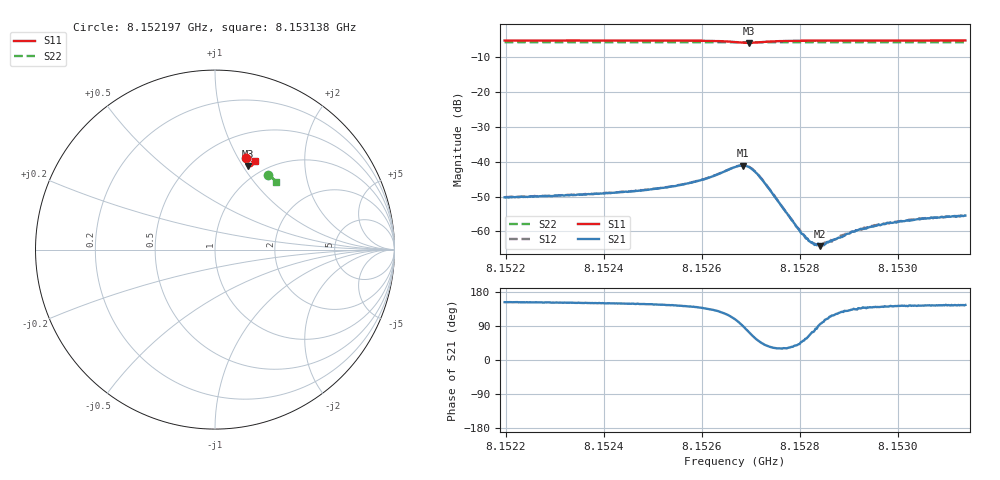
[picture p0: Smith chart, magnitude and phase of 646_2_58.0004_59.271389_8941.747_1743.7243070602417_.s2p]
#  HZ  S  RI  R  50.00
! Rohde & Schwarz Vector Network Analyzer
! Rohde-Schwarz,ZNB20-2Port,1311601062101988,3.16
! Created: UTC 3/21/2024, 1:19:15 AM
! freq[Hz]  re:S11  im:S11  re:S21  im:S21  re:S12  im:S12  re:S22  im:S22
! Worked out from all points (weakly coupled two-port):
!   401 points, 8.152197 GHz to 8.153138 GHz, reference 50 ohm
!   highest |S21| = -41.12 dB at 8.152684 GHz (marker M1); lowest = -64.2 dB at 8.152842 GHz (marker M2)
!   lowest |S11| = -6.0 dB at 8.152696 GHz (marker M3), VSWR 3.01, Z = 42.6 + j52.9 ohm
!   |S11| at or under -10 dB: nowhere
!   |S22| runs from -5.9 to -5.8 dB; largest |S21 - S12| = 0.00017
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8.1521975e9  0.1705 0.5129  -0.00274 0.00142  -0.00273 0.00143  0.2966 0.4171
8.152355e9  0.1824 0.5089  -0.00294 0.00164  -0.00295 0.00167  0.3048 0.4111
8.1524585e9  0.191 0.5054  -0.00321 0.00196  -0.00318 0.00203  0.3099 0.4069
8.1525126e9  0.1959 0.503  -0.00343 0.00231  -0.00341 0.00235  0.3128 0.4046
8.1525597e9  0.2009 0.4997  -0.00372 0.00281  -0.00373 0.00287  0.315 0.4026
8.1525926e9  0.2049 0.496  -0.00398 0.00349  -0.00397 0.00354  0.3168 0.4011
8.1526255e9  0.2092 0.4894  -0.00415 0.00472  -0.00412 0.00482  0.3184 0.3997
8.1526678e9  0.2072 0.4709  -0.00253 0.00795  -0.00247 0.00804  0.32 0.3973
8.1526843e9  0.1962 0.4638  0.000106 0.00879  0.00017 0.00889  0.3202 0.3967
8.1526961e9  0.1854 0.4651  0.00234 0.00804  0.0024 0.00811  0.3204 0.3963
8.1527078e9  0.1773 0.4722  0.00375 0.00622  0.00385 0.00631  0.3206 0.3964
8.1527196e9  0.1748 0.481  0.00403 0.00432  0.00412 0.0043  0.3214 0.3962
8.1527995e9  0.1926 0.5002  0.00077 0.000694  0.000797 0.000706  0.326 0.3934
8.152816e9  0.1954 0.5005  0.000395 0.000679  0.000426 0.000657  0.3268 0.3927
8.1528254e9  0.1968 0.5004  0.000196 0.000672  0.000235 0.000639  0.3274 0.3923
8.1528419e9  0.1991 0.5003  -5.52e-05 0.000613  -2.92e-05 0.000623  0.328 0.3915
8.1528466e9  0.1997 0.5001  -0.000111 0.000657  -8.19e-05 0.000631  0.3284 0.3915
8.1529101e9  0.2068 0.4989  -0.000706 0.0007  -0.000674 0.00074  0.3316 0.3886
8.1529524e9  0.2107 0.4978  -0.000907 0.000772  -0.000926 0.000814  0.3336 0.3869
8.152983e9  0.2132 0.4971  -0.00104 0.000825  -0.00102 0.00081  0.335 0.3855
8.1530488e9  0.2184 0.4951  -0.00122 0.00091  -0.00123 0.000916  0.3382 0.3826
8.1531382e9  0.225 0.4925  -0.00139 0.000961  -0.00138 0.000999  0.3424 0.3789
